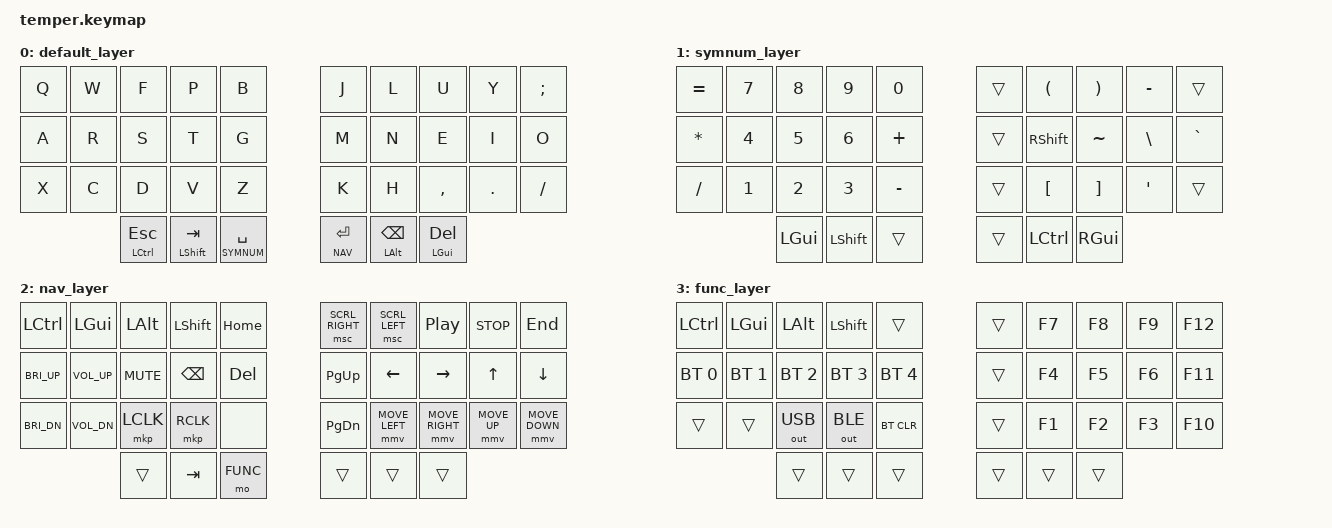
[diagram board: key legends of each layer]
/*
 * Copyright (c) 2020 The ZMK Contributors
 * Attempted to add a right shift to the FSLASH key on line 33 but it didn't work 
 * SPDX-License-Identifier: MIT
 */

#include <behaviors.dtsi>
#include <dt-bindings/zmk/keys.h>
#include <dt-bindings/zmk/bt.h>
#include <dt-bindings/zmk/outputs.h>
#include <dt-bindings/zmk/pointing.h>

#define ALPHA 0
#define SYMNUM 1
#define NAV 2
#define FUNC 3

#define ______ &trans

/ {
    

        keymap {
                compatible = "zmk,keymap";

                default_layer {
                        bindings = <
// ╭─────────────┬─────────────┬─────────────┬─────────────┬─────────────╮   ╭─────────────┬─────────────┬─────────────┬─────────────┬─────────────╮
        &kp Q         &kp W         &kp F         &kp P         &kp B             &kp J         &kp L         &kp U         &kp Y        &kp SEMI  
// ├─────────────┼─────────────┼─────────────┼─────────────┼─────────────┤   ├─────────────┼─────────────┼─────────────┼─────────────┼─────────────┤
        &kp A         &kp R         &kp S         &kp T         &kp G             &kp M         &kp N         &kp E         &kp I        &kp O
// ├─────────────┼─────────────┼─────────────┼─────────────┼─────────────┤   ├─────────────┼─────────────┼─────────────┼─────────────┼─────────────┤
        &kp X         &kp C         &kp D         &kp V         &kp Z             &kp K         &kp H       &kp COMMA      &kp DOT    &kp FSLH
// ╰─────────────┴─────────────┼─────────────┼─────────────┼─────────────┤   ├─────────────┼─────────────┼─────────────┼─────────────┴─────────────╯
                                &mt LCTRL ESC &mt LSHIFT TAB &lt SYMNUM SPACE  &lt NAV RET &mt LALT BACKSPACE &mt LGUI DELETE 
//                             ╰─────────────┴─────────────┴─────────────╯   ╰─────────────┴─────────────┴─────────────╯
                        >;
                };

                symnum_layer {
                        bindings = <
// ╭─────────────┬─────────────┬─────────────┬─────────────┬─────────────╮   ╭─────────────┬─────────────┬─────────────┬─────────────┬─────────────╮
        &kp EQUAL     &kp N7        &kp N8        &kp N9       &kp N0             ______       &kp LPAR      &kp RPAR     &kp MINUS      ______   
// ├─────────────┼─────────────┼─────────────┼─────────────┼─────────────┤   ├─────────────┼─────────────┼─────────────┼─────────────┼─────────────┤
        &kp STAR      &kp N4        &kp N5        &kp N6       &kp PLUS           ______      &kp RSHIFT    &kp TILDE      &kp BSLH     &kp GRAVE
// ├─────────────┼─────────────┼─────────────┼─────────────┼─────────────┤   ├─────────────┼─────────────┼─────────────┼─────────────┼─────────────┤
        &kp FSLH      &kp N1        &kp N2        &kp N3       &kp MINUS          ______       &kp LBKT      &kp RBKT      &kp APOS      ______
// ╰─────────────┴─────────────┼─────────────┼─────────────┼─────────────┤   ├─────────────┼─────────────┼─────────────┼─────────────┴─────────────╯
                                   &kp LGUI     &kp LSHIFT     ______             ______       &kp LCTRL     &kp RGUI
//                             ╰─────────────┴─────────────┴─────────────╯   ╰─────────────┴─────────────┴─────────────╯
                        >;
                };

                nav_layer {
                        bindings = <
// ╭─────────────┬─────────────┬─────────────┬─────────────┬─────────────╮   ╭─────────────┬─────────────┬─────────────┬─────────────┬─────────────╮
       &kp LCTRL     &kp LGUI      &kp LALT     &kp LSHIFT     &kp HOME       &msc SCRL_RIGHT &msc SCRL_LEFT  &kp C_PP    &kp C_STOP    &kp END
// ├─────────────┼─────────────┼─────────────┼─────────────┼─────────────┤   ├─────────────┼─────────────┼─────────────┼─────────────┼─────────────┤
     &kp C_BRI_UP  &kp C_VOL_UP   &kp C_MUTE     &kp BSPC     &kp DEL          &kp PAGE_UP     &kp LEFT     &kp RIGHT       &kp UP       &kp DOWN
// ├─────────────┼─────────────┼─────────────┼─────────────┼─────────────┤   ├─────────────┼─────────────┼─────────────┼─────────────┼─────────────┤
     &kp C_BRI_DN  &kp C_VOL_DN   &mkp LCLK     &mkp RCLK       &none        &kp PAGE_DOWN &mmv MOVE_LEFT &mmv MOVE_RIGHT &mmv MOVE_UP &mmv MOVE_DOWN 
// ╰─────────────┴─────────────┼─────────────┼─────────────┼─────────────┤   ├─────────────┼─────────────┼─────────────┼─────────────┴─────────────╯
                                   ______        &kp TAB       &mo FUNC          ______         ______        ______
//                             ╰─────────────┴─────────────┴─────────────╯   ╰─────────────┴─────────────┴─────────────╯
                        >;
                };

                func_layer {
                        bindings = <
// ╭─────────────┬─────────────┬─────────────┬─────────────┬─────────────╮   ╭─────────────┬─────────────┬─────────────┬─────────────┬─────────────╮
      &kp LCTRL     &kp LGUI      &kp LALT     &kp LSHIFT      ______            ______         &kp F7        &kp F8        &kp F9       &kp F12
// ├─────────────┼─────────────┼─────────────┼─────────────┼─────────────┤   ├─────────────┼─────────────┼─────────────┼─────────────┼─────────────┤
     &bt BT_SEL 0  &bt BT_SEL 1  &bt BT_SEL 2  &bt BT_SEL 3  &bt BT_SEL 4        ______         &kp F4        &kp F5         &kp F6      &kp F11          
// ├─────────────┼─────────────┼─────────────┼─────────────┼─────────────┤   ├─────────────┼─────────────┼─────────────┼─────────────┼─────────────┤
      ______          ______     &out OUT_USB  &out OUT_BLE   &bt BT_CLR          ______        &kp F1        &kp F2         &kp F3      &kp F10             
// ╰─────────────┴─────────────┼─────────────┼─────────────┼─────────────┤   ├─────────────┼─────────────┼─────────────┼─────────────┴─────────────╯
                                    ______        ______        ______            ______        ______        ______
//                             ╰─────────────┴─────────────┴─────────────╯   ╰─────────────┴─────────────┴─────────────╯
                        >;
                };
        };
};
